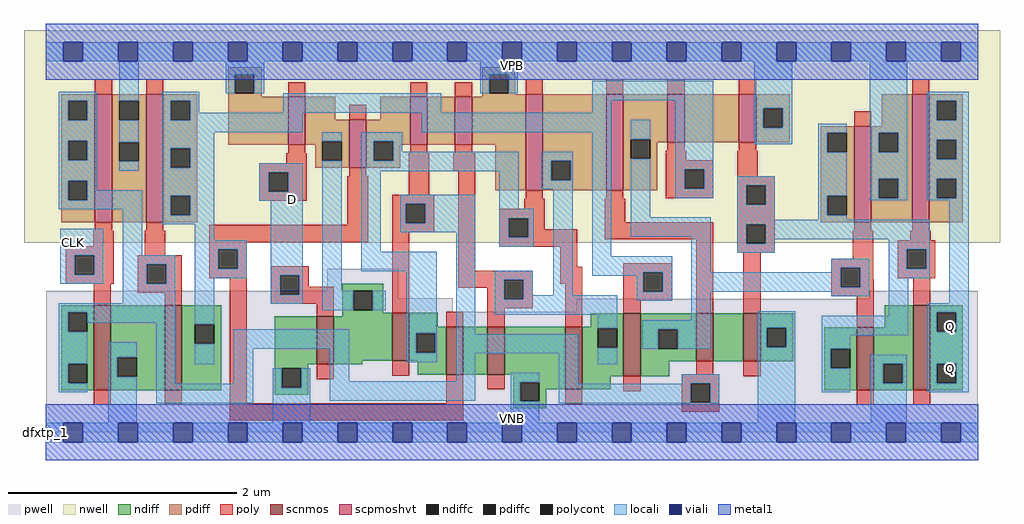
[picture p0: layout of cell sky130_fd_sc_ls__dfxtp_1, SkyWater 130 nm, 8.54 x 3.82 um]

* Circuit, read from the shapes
.subckt sky130_fd_sc_ls__dfxtp_1 CLK D VGND VNB VPB VPWR Q
XM1 VGND CLK n1 VNB sky130_fd_pr__nfet_01v8 w=0.74 l=0.15
XM2 n2 n1 VGND VNB sky130_fd_pr__nfet_01v8 w=0.74 l=0.15
XM3 n3 D VGND VNB sky130_fd_pr__nfet_01v8 w=0.42 l=0.15
XM4 n4 n1 n3 VNB sky130_fd_pr__nfet_01v8 w=0.42 l=0.15
XM5 n5 n2 n4 VNB sky130_fd_pr__nfet_01v8 w=0.42 l=0.15
XM6 VGND n6 n5 VNB sky130_fd_pr__nfet_01v8 w=0.42 l=0.15
XM7 n6 n4 VGND VNB sky130_fd_pr__nfet_01v8 w=0.55 l=0.15
XM8 n7 n2 n6 VNB sky130_fd_pr__nfet_01v8 w=0.55 l=0.15
XM9 n8 n1 n7 VNB sky130_fd_pr__nfet_01v8 w=0.42 l=0.15
XM10 VGND n9 n8 VNB sky130_fd_pr__nfet_01v8 w=0.42 l=0.15
XM11 VGND n7 n9 VNB sky130_fd_pr__nfet_01v8 w=0.55 l=0.15
XM12 Q n9 VGND VNB sky130_fd_pr__nfet_01v8 w=0.74 l=0.15
XM13 VPWR CLK n1 VPB sky130_fd_pr__pfet_01v8_hvt w=1.12 l=0.15
XM14 n2 n1 VPWR VPB sky130_fd_pr__pfet_01v8_hvt w=1.12 l=0.15
XM15 n3 D VPWR VPB sky130_fd_pr__pfet_01v8_hvt w=0.42 l=0.15
XM16 n4 n2 n3 VPB sky130_fd_pr__pfet_01v8_hvt w=0.42 l=0.15
XM17 n10 n1 n4 VPB sky130_fd_pr__pfet_01v8_hvt w=0.42 l=0.15
XM18 VPWR n6 n10 VPB sky130_fd_pr__pfet_01v8_hvt w=0.42 l=0.15
XM19 n6 n4 VPWR VPB sky130_fd_pr__pfet_01v8_hvt w=0.84 l=0.15
XM20 n7 n1 n6 VPB sky130_fd_pr__pfet_01v8_hvt w=0.84 l=0.15
XM21 n11 n2 n7 VPB sky130_fd_pr__pfet_01v8_hvt w=0.42 l=0.15
XM22 VPWR n9 n11 VPB sky130_fd_pr__pfet_01v8_hvt w=0.42 l=0.15
XM23 VPWR n7 n9 VPB sky130_fd_pr__pfet_01v8_hvt w=0.84 l=0.15
XM24 Q n9 VPWR VPB sky130_fd_pr__pfet_01v8_hvt w=1.12 l=0.15
.ends

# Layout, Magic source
magic
tech sky130A
magscale 1 2
<< nwell >>
rect -38 332 1670 704
<< pwell >>
rect 493 248 617 286
rect 1 235 617 248
rect 1 211 712 235
rect 1442 234 1631 248
rect 928 211 1631 234
rect 1 49 1631 211
rect 0 0 1632 49
<< scnmos >>
rect 84 74 114 222
rect 208 74 238 222
rect 474 119 504 203
rect 606 125 636 209
rect 701 101 731 185
rect 773 101 803 185
rect 909 75 939 185
rect 1011 98 1041 208
rect 1138 124 1168 208
rect 1221 124 1251 208
rect 1419 74 1449 184
rect 1518 74 1548 222
<< scpmoshvt >>
rect 86 368 116 592
rect 176 368 206 592
rect 424 503 454 587
rect 531 463 561 547
rect 638 503 668 587
rect 716 503 746 587
rect 840 424 870 592
rect 981 424 1011 592
rect 1088 508 1118 592
rect 1213 508 1243 592
rect 1415 368 1445 536
rect 1516 368 1546 592
<< ndiff >>
rect 27 210 84 222
rect 27 176 39 210
rect 73 176 84 210
rect 27 120 84 176
rect 27 86 39 120
rect 73 86 84 120
rect 27 74 84 86
rect 114 131 208 222
rect 114 97 125 131
rect 159 97 208 131
rect 114 74 208 97
rect 238 189 307 222
rect 238 155 261 189
rect 295 155 307 189
rect 238 74 307 155
rect 519 248 591 260
rect 519 214 538 248
rect 572 214 591 248
rect 519 209 591 214
rect 519 203 606 209
rect 401 119 474 203
rect 504 125 606 203
rect 636 185 686 209
rect 954 185 1011 208
rect 636 173 701 185
rect 636 139 648 173
rect 682 139 701 173
rect 636 125 701 139
rect 504 119 554 125
rect 401 112 459 119
rect 401 78 413 112
rect 447 78 459 112
rect 651 101 701 125
rect 731 101 773 185
rect 803 101 909 185
rect 401 66 459 78
rect 818 88 909 101
rect 818 54 830 88
rect 864 75 909 88
rect 939 182 1011 185
rect 939 148 966 182
rect 1000 148 1011 182
rect 939 98 1011 148
rect 1041 180 1138 208
rect 1041 146 1072 180
rect 1106 146 1138 180
rect 1041 124 1138 146
rect 1168 124 1221 208
rect 1251 183 1308 208
rect 1468 184 1518 222
rect 1251 149 1262 183
rect 1296 149 1308 183
rect 1251 124 1308 149
rect 1362 146 1419 184
rect 1041 98 1091 124
rect 939 75 989 98
rect 864 54 876 75
rect 818 42 876 54
rect 1362 112 1374 146
rect 1408 112 1419 146
rect 1362 74 1419 112
rect 1449 120 1518 184
rect 1449 86 1466 120
rect 1500 86 1518 120
rect 1449 74 1518 86
rect 1548 210 1605 222
rect 1548 176 1559 210
rect 1593 176 1605 210
rect 1548 120 1605 176
rect 1548 86 1559 120
rect 1593 86 1605 120
rect 1548 74 1605 86
<< pdiff >>
rect 319 627 378 639
rect 319 593 331 627
rect 365 593 378 627
rect 764 627 822 639
rect 27 580 86 592
rect 27 546 39 580
rect 73 546 86 580
rect 27 510 86 546
rect 27 476 39 510
rect 73 476 86 510
rect 27 440 86 476
rect 27 406 39 440
rect 73 406 86 440
rect 27 368 86 406
rect 116 580 176 592
rect 116 546 129 580
rect 163 546 176 580
rect 116 508 176 546
rect 116 474 129 508
rect 163 474 176 508
rect 116 368 176 474
rect 206 580 265 592
rect 206 546 219 580
rect 253 546 265 580
rect 206 497 265 546
rect 319 587 378 593
rect 764 593 776 627
rect 810 593 822 627
rect 764 592 822 593
rect 764 587 840 592
rect 319 503 424 587
rect 454 547 507 587
rect 585 547 638 587
rect 454 509 531 547
rect 454 503 484 509
rect 206 463 219 497
rect 253 463 265 497
rect 206 414 265 463
rect 206 380 219 414
rect 253 380 265 414
rect 472 475 484 503
rect 518 475 531 509
rect 472 463 531 475
rect 561 509 638 547
rect 561 475 574 509
rect 608 503 638 509
rect 668 503 716 587
rect 746 503 840 587
rect 608 475 620 503
rect 561 463 620 475
rect 206 368 265 380
rect 787 424 840 503
rect 870 475 981 592
rect 870 441 885 475
rect 919 441 981 475
rect 870 424 981 441
rect 1011 513 1088 592
rect 1011 479 1024 513
rect 1058 508 1088 513
rect 1118 508 1213 592
rect 1243 567 1302 592
rect 1243 533 1256 567
rect 1290 533 1302 567
rect 1463 536 1516 592
rect 1243 508 1302 533
rect 1356 524 1415 536
rect 1058 479 1070 508
rect 1011 424 1070 479
rect 1356 490 1368 524
rect 1402 490 1415 524
rect 1356 414 1415 490
rect 1356 380 1368 414
rect 1402 380 1415 414
rect 1356 368 1415 380
rect 1445 524 1516 536
rect 1445 490 1458 524
rect 1492 490 1516 524
rect 1445 444 1516 490
rect 1445 410 1458 444
rect 1492 410 1516 444
rect 1445 368 1516 410
rect 1546 580 1605 592
rect 1546 546 1559 580
rect 1593 546 1605 580
rect 1546 512 1605 546
rect 1546 478 1559 512
rect 1593 478 1605 512
rect 1546 444 1605 478
rect 1546 410 1559 444
rect 1593 410 1605 444
rect 1546 368 1605 410
<< ndiffc >>
rect 39 176 73 210
rect 39 86 73 120
rect 125 97 159 131
rect 261 155 295 189
rect 538 214 572 248
rect 648 139 682 173
rect 413 78 447 112
rect 830 54 864 88
rect 966 148 1000 182
rect 1072 146 1106 180
rect 1262 149 1296 183
rect 1374 112 1408 146
rect 1466 86 1500 120
rect 1559 176 1593 210
rect 1559 86 1593 120
<< pdiffc >>
rect 331 593 365 627
rect 39 546 73 580
rect 39 476 73 510
rect 39 406 73 440
rect 129 546 163 580
rect 129 474 163 508
rect 219 546 253 580
rect 776 593 810 627
rect 219 463 253 497
rect 219 380 253 414
rect 484 475 518 509
rect 574 475 608 509
rect 885 441 919 475
rect 1024 479 1058 513
rect 1256 533 1290 567
rect 1368 490 1402 524
rect 1368 380 1402 414
rect 1458 490 1492 524
rect 1458 410 1492 444
rect 1559 546 1593 580
rect 1559 478 1593 512
rect 1559 410 1593 444
<< poly >>
rect 86 592 116 618
rect 176 592 206 618
rect 424 587 454 613
rect 638 587 668 613
rect 716 587 746 613
rect 840 592 870 618
rect 981 592 1011 618
rect 1088 592 1118 618
rect 1213 592 1243 618
rect 1516 592 1546 618
rect 531 547 561 573
rect 424 488 454 503
rect 421 471 457 488
rect 374 455 457 471
rect 638 488 668 503
rect 716 488 746 503
rect 374 421 390 455
rect 424 421 457 455
rect 531 448 561 463
rect 374 405 457 421
rect 86 353 116 368
rect 176 353 206 368
rect 528 363 564 448
rect 635 416 671 488
rect 713 458 752 488
rect 83 326 119 353
rect 35 310 119 326
rect 173 310 209 353
rect 286 333 564 363
rect 606 400 680 416
rect 606 366 630 400
rect 664 366 680 400
rect 606 350 680 366
rect 286 320 352 333
rect 35 276 51 310
rect 85 276 119 310
rect 35 260 119 276
rect 161 294 238 310
rect 161 260 177 294
rect 211 260 238 294
rect 286 286 302 320
rect 336 286 352 320
rect 286 270 352 286
rect 84 222 114 260
rect 161 244 238 260
rect 208 222 238 244
rect 84 48 114 74
rect 208 48 238 74
rect 322 51 352 270
rect 394 275 460 291
rect 394 241 410 275
rect 444 255 460 275
rect 444 241 504 255
rect 394 225 504 241
rect 474 203 504 225
rect 606 209 636 350
rect 722 283 752 458
rect 1415 536 1445 562
rect 1088 493 1118 508
rect 1213 493 1243 508
rect 1085 476 1121 493
rect 1085 460 1168 476
rect 1085 426 1118 460
rect 1152 426 1168 460
rect 840 409 870 424
rect 981 409 1011 424
rect 1085 410 1168 426
rect 1210 448 1246 493
rect 1210 432 1276 448
rect 837 391 873 409
rect 794 375 873 391
rect 794 341 810 375
rect 844 355 873 375
rect 978 368 1014 409
rect 1210 398 1226 432
rect 1260 398 1276 432
rect 844 341 930 355
rect 794 325 930 341
rect 978 338 1168 368
rect 900 290 930 325
rect 722 267 852 283
rect 722 253 802 267
rect 773 233 802 253
rect 836 233 852 267
rect 900 260 939 290
rect 773 217 852 233
rect 701 185 731 211
rect 773 185 803 217
rect 909 185 939 260
rect 1011 280 1096 296
rect 1011 246 1046 280
rect 1080 246 1096 280
rect 1011 230 1096 246
rect 1011 208 1041 230
rect 1138 208 1168 338
rect 1210 364 1276 398
rect 1210 330 1226 364
rect 1260 330 1276 364
rect 1415 353 1445 368
rect 1516 353 1546 368
rect 1210 314 1276 330
rect 1221 208 1251 314
rect 1412 304 1448 353
rect 1513 336 1549 353
rect 1375 288 1448 304
rect 1375 254 1391 288
rect 1425 268 1448 288
rect 1491 320 1557 336
rect 1491 286 1507 320
rect 1541 286 1557 320
rect 1491 270 1557 286
rect 1425 254 1449 268
rect 1375 238 1449 254
rect 474 93 504 119
rect 606 99 636 125
rect 701 51 731 101
rect 773 75 803 101
rect 322 21 731 51
rect 1419 184 1449 238
rect 1518 222 1548 270
rect 1138 102 1168 124
rect 909 49 939 75
rect 1011 72 1041 98
rect 1113 86 1179 102
rect 1221 98 1251 124
rect 1113 52 1129 86
rect 1163 52 1179 86
rect 1113 36 1179 52
rect 1419 48 1449 74
rect 1518 48 1548 74
<< polycont >>
rect 390 421 424 455
rect 630 366 664 400
rect 51 276 85 310
rect 177 260 211 294
rect 302 286 336 320
rect 410 241 444 275
rect 1118 426 1152 460
rect 810 341 844 375
rect 1226 398 1260 432
rect 802 233 836 267
rect 1046 246 1080 280
rect 1226 330 1260 364
rect 1391 254 1425 288
rect 1507 286 1541 320
rect 1129 52 1163 86
<< locali >>
rect 0 649 31 683
rect 65 649 127 683
rect 161 649 223 683
rect 257 649 319 683
rect 353 649 415 683
rect 449 649 511 683
rect 545 649 607 683
rect 641 649 703 683
rect 737 649 799 683
rect 833 649 895 683
rect 929 649 991 683
rect 1025 649 1087 683
rect 1121 649 1183 683
rect 1217 649 1279 683
rect 1313 649 1375 683
rect 1409 649 1471 683
rect 1505 649 1567 683
rect 1601 649 1632 683
rect 23 580 89 596
rect 23 546 39 580
rect 73 546 89 580
rect 23 510 89 546
rect 23 476 39 510
rect 73 476 89 510
rect 23 440 89 476
rect 129 580 163 649
rect 315 627 382 649
rect 129 508 163 546
rect 129 458 163 474
rect 203 580 269 596
rect 315 593 331 627
rect 365 593 382 627
rect 760 627 826 649
rect 760 593 776 627
rect 810 593 826 627
rect 203 546 219 580
rect 253 559 269 580
rect 416 559 692 593
rect 956 581 1168 615
rect 956 559 990 581
rect 253 546 450 559
rect 203 525 450 546
rect 658 525 990 559
rect 203 497 295 525
rect 203 463 219 497
rect 253 463 295 497
rect 484 509 518 525
rect 23 406 39 440
rect 73 424 89 440
rect 73 406 169 424
rect 23 390 169 406
rect 25 310 101 356
rect 25 276 51 310
rect 85 276 101 310
rect 25 260 101 276
rect 135 310 169 390
rect 203 414 295 463
rect 203 380 219 414
rect 253 380 295 414
rect 374 455 450 471
rect 374 421 390 455
rect 424 421 450 455
rect 374 405 450 421
rect 203 364 295 380
rect 261 336 295 364
rect 261 320 352 336
rect 135 294 227 310
rect 135 260 177 294
rect 211 260 227 294
rect 135 226 227 260
rect 23 210 227 226
rect 23 176 39 210
rect 73 192 227 210
rect 23 120 73 176
rect 23 86 39 120
rect 23 70 73 86
rect 109 131 159 158
rect 109 97 125 131
rect 109 17 159 97
rect 193 85 227 192
rect 261 286 302 320
rect 336 286 352 320
rect 261 270 352 286
rect 394 275 450 405
rect 261 189 295 270
rect 394 241 410 275
rect 444 241 450 275
rect 394 225 450 241
rect 484 248 518 475
rect 552 509 624 525
rect 552 475 574 509
rect 608 491 624 509
rect 608 475 828 491
rect 552 457 828 475
rect 552 316 586 457
rect 620 400 752 416
rect 620 366 630 400
rect 664 366 752 400
rect 620 350 752 366
rect 552 282 684 316
rect 484 214 538 248
rect 572 214 595 248
rect 261 119 295 155
rect 329 146 531 180
rect 329 85 363 146
rect 193 51 363 85
rect 397 78 413 112
rect 447 78 463 112
rect 397 17 463 78
rect 497 89 531 146
rect 631 173 684 282
rect 631 139 648 173
rect 682 139 684 173
rect 631 123 684 139
rect 718 172 752 350
rect 794 391 828 457
rect 867 475 922 491
rect 867 441 885 475
rect 919 441 922 475
rect 867 425 922 441
rect 794 375 854 391
rect 794 341 810 375
rect 844 341 854 375
rect 794 325 854 341
rect 786 267 852 283
rect 786 233 802 267
rect 836 240 852 267
rect 888 240 922 425
rect 956 308 990 525
rect 1024 513 1058 547
rect 1024 376 1058 479
rect 1102 460 1168 581
rect 1240 567 1306 649
rect 1240 533 1256 567
rect 1290 533 1306 567
rect 1240 504 1306 533
rect 1352 524 1402 540
rect 1102 426 1118 460
rect 1152 426 1168 460
rect 1352 490 1368 524
rect 1102 410 1168 426
rect 1210 432 1276 448
rect 1210 398 1226 432
rect 1260 398 1276 432
rect 1024 342 1164 376
rect 956 280 1096 308
rect 956 274 1046 280
rect 1034 246 1046 274
rect 1080 246 1096 280
rect 836 233 1000 240
rect 786 206 1000 233
rect 1034 230 1096 246
rect 1130 280 1164 342
rect 1210 372 1276 398
rect 1352 414 1402 490
rect 1352 380 1368 414
rect 1442 524 1508 649
rect 1442 490 1458 524
rect 1492 490 1508 524
rect 1442 444 1508 490
rect 1442 410 1458 444
rect 1492 410 1508 444
rect 1442 406 1508 410
rect 1543 580 1615 596
rect 1543 546 1559 580
rect 1593 546 1615 580
rect 1543 512 1615 546
rect 1543 478 1559 512
rect 1593 478 1615 512
rect 1543 444 1615 478
rect 1543 410 1559 444
rect 1593 410 1615 444
rect 1543 406 1615 410
rect 1352 372 1402 380
rect 1210 364 1547 372
rect 1210 330 1226 364
rect 1260 338 1547 364
rect 1260 330 1276 338
rect 1210 314 1276 330
rect 1475 320 1547 338
rect 1375 288 1441 304
rect 1375 280 1391 288
rect 1130 254 1391 280
rect 1425 254 1441 288
rect 1130 246 1441 254
rect 966 182 1000 206
rect 1130 196 1164 246
rect 1375 238 1441 246
rect 1475 286 1507 320
rect 1541 286 1547 320
rect 1475 270 1547 286
rect 718 138 932 172
rect 718 89 752 138
rect 497 55 752 89
rect 814 88 864 104
rect 814 54 830 88
rect 814 17 864 54
rect 898 85 932 138
rect 966 119 1000 148
rect 1044 180 1164 196
rect 1044 146 1072 180
rect 1106 146 1164 180
rect 1246 183 1312 212
rect 1475 204 1509 270
rect 1581 226 1615 406
rect 1246 149 1262 183
rect 1296 149 1312 183
rect 1113 86 1179 102
rect 1113 85 1129 86
rect 898 52 1129 85
rect 1163 52 1179 86
rect 898 51 1179 52
rect 1246 17 1312 149
rect 1358 170 1509 204
rect 1543 210 1615 226
rect 1543 176 1559 210
rect 1593 176 1615 210
rect 1358 146 1408 170
rect 1358 112 1374 146
rect 1358 70 1408 112
rect 1444 120 1507 136
rect 1444 86 1466 120
rect 1500 86 1507 120
rect 1444 17 1507 86
rect 1543 120 1615 176
rect 1543 86 1559 120
rect 1593 86 1615 120
rect 1543 70 1615 86
rect 0 -17 31 17
rect 65 -17 127 17
rect 161 -17 223 17
rect 257 -17 319 17
rect 353 -17 415 17
rect 449 -17 511 17
rect 545 -17 607 17
rect 641 -17 703 17
rect 737 -17 799 17
rect 833 -17 895 17
rect 929 -17 991 17
rect 1025 -17 1087 17
rect 1121 -17 1183 17
rect 1217 -17 1279 17
rect 1313 -17 1375 17
rect 1409 -17 1471 17
rect 1505 -17 1567 17
rect 1601 -17 1632 17
<< viali >>
rect 31 649 65 683
rect 127 649 161 683
rect 223 649 257 683
rect 319 649 353 683
rect 415 649 449 683
rect 511 649 545 683
rect 607 649 641 683
rect 703 649 737 683
rect 799 649 833 683
rect 895 649 929 683
rect 991 649 1025 683
rect 1087 649 1121 683
rect 1183 649 1217 683
rect 1279 649 1313 683
rect 1375 649 1409 683
rect 1471 649 1505 683
rect 1567 649 1601 683
rect 31 -17 65 17
rect 127 -17 161 17
rect 223 -17 257 17
rect 319 -17 353 17
rect 415 -17 449 17
rect 511 -17 545 17
rect 607 -17 641 17
rect 703 -17 737 17
rect 799 -17 833 17
rect 895 -17 929 17
rect 991 -17 1025 17
rect 1087 -17 1121 17
rect 1183 -17 1217 17
rect 1279 -17 1313 17
rect 1375 -17 1409 17
rect 1471 -17 1505 17
rect 1567 -17 1601 17
<< metal1 >>
rect 0 683 1632 715
rect 0 649 31 683
rect 65 649 127 683
rect 161 649 223 683
rect 257 649 319 683
rect 353 649 415 683
rect 449 649 511 683
rect 545 649 607 683
rect 641 649 703 683
rect 737 649 799 683
rect 833 649 895 683
rect 929 649 991 683
rect 1025 649 1087 683
rect 1121 649 1183 683
rect 1217 649 1279 683
rect 1313 649 1375 683
rect 1409 649 1471 683
rect 1505 649 1567 683
rect 1601 649 1632 683
rect 0 617 1632 649
rect 0 17 1632 49
rect 0 -17 31 17
rect 65 -17 127 17
rect 161 -17 223 17
rect 257 -17 319 17
rect 353 -17 415 17
rect 449 -17 511 17
rect 545 -17 607 17
rect 641 -17 703 17
rect 737 -17 799 17
rect 833 -17 895 17
rect 929 -17 991 17
rect 1025 -17 1087 17
rect 1121 -17 1183 17
rect 1217 -17 1279 17
rect 1313 -17 1375 17
rect 1409 -17 1471 17
rect 1505 -17 1567 17
rect 1601 -17 1632 17
rect 0 -49 1632 -17
<< labels >>
rlabel comment s 0 0 0 0 4 dfxtp_1
flabel pwell s 0 0 1632 49 0 FreeSans 200 0 0 0 VNB
port 4 nsew ground bidirectional
flabel nwell s 0 617 1632 666 0 FreeSans 200 0 0 0 VPB
port 5 nsew power bidirectional
flabel metal1 s 0 617 1632 666 0 FreeSans 340 0 0 0 VPWR
port 6 nsew power bidirectional abutment
flabel metal1 s 0 0 1632 49 0 FreeSans 340 0 0 0 VGND
port 3 nsew ground bidirectional abutment
flabel locali s 31 316 65 350 0 FreeSans 340 0 0 0 CLK
port 1 nsew clock input
flabel locali s 1567 94 1601 128 0 FreeSans 340 0 0 0 Q
port 7 nsew signal output
flabel locali s 1567 168 1601 202 0 FreeSans 340 0 0 0 Q
port 7 nsew signal output
flabel locali s 415 390 449 424 0 FreeSans 340 0 0 0 D
port 2 nsew signal input
<< properties >>
string LEFsite unit
string LEFclass CORE
string FIXED_BBOX 0 0 1632 666
string GDS_FILE $PDKPATH/libs.ref/sky130_fd_sc_ls/gds/sky130_fd_sc_ls.gds
string LEFsymmetry X Y
string GDS_END 37408
string GDS_START 24776
<< end >>
